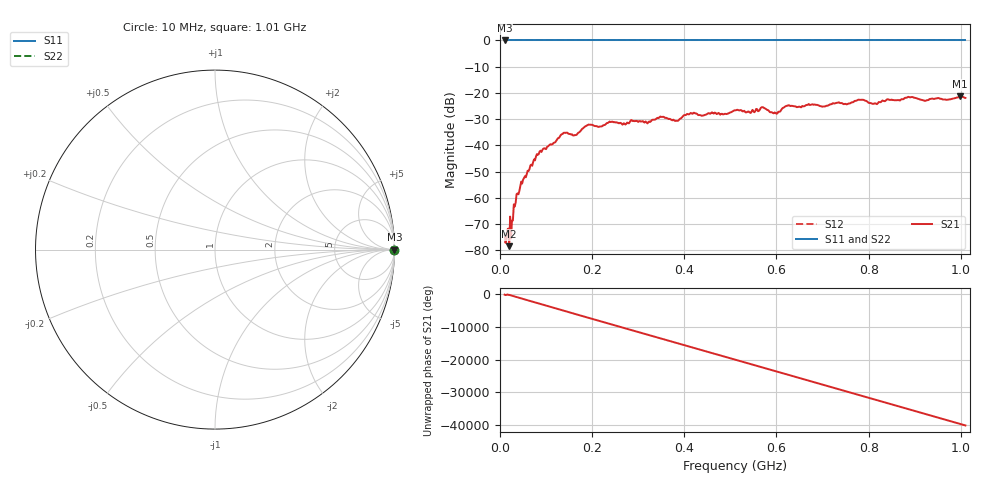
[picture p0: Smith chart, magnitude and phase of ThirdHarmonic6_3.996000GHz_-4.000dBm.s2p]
! 8/17/2025 2:15:50 PM
! C:\ANRITSUVNA\TEMP\TEMP.S2P
! CHANNEL.1
! TR.MEASUREMENT
! RAW.DATA
! RF.CORRECTION.OFF
! AVERAGING.OFF
! IF.BANDWIDTH: 5KHZ
! SWEEPTYPE:  FREQ.SWEEP(Linear)
! Reference Plane Port Info
! PORT:  PORT1  PORT2
! DISTANCE:  0  m  0  m
! TIME:  0  s  0  s
! PHASE.OFFSET:  0  deg.  0  deg.
! LOSS:  0  dB  0  dB
! REF.LOSS:  0  dB  0  dB
! REF.FREQ:  0  Hz  0  Hz
! Power Info
! POWER:  -20  dBm  -20  dBm
! EFF.POWER:  -20  dBm  -20  dBm
! SOURCE.ATTEN:  0  dB  0  dB
! TEST.ATTEN:  0  dB  0  dB
# GHZ S RI R 50.0
! FREQ.GHZ  S11RE  S11IM  S21RE  S21IM  S12RE  S12IM  S22RE  S22IM
!; PortSelection: Port_12
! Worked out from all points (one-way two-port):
!   501 points, 10 MHz to 1.01 GHz, reference 50 ohm
!   highest |S21| = -21.30 dB at 998 MHz (marker M1); lowest = -78.5 dB at 20 MHz (marker M2)
!   lowest |S11| = 0.0 dB at 10 MHz (marker M3)
!   |S11| at or under -10 dB: nowhere
!   |S22| runs from 0.0 to 0.0 dB; largest |S21 - S12| = 1.1
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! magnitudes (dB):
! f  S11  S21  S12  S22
! 10 MHz  0.0  -73.6  0.0  0.0
! 16 MHz  0.0  -72.2  0.0  0.0
! 20 MHz  0.0  -78.5  0.0  0.0
! 24 MHz  0.0  -75.5  0.0  0.0
! 34 MHz  0.0  -61.9  0.0  0.0
! 40 MHz  0.0  -58.7  0.0  0.0
! 82 MHz  0.0  -43.6  0.0  0.0
! 136 MHz  0.0  -35.7  0.0  0.0
! 162 MHz  0.0  -36.1  0.0  0.0
! 178 MHz  0.0  -33.8  0.0  0.0
! 194 MHz  0.0  -32.1  0.0  0.0
! 344 MHz  0.0  -29.6  0.0  0.0
! 384 MHz  0.0  -30.6  0.0  0.0
! 418 MHz  0.0  -28.0  0.0  0.0
! 510 MHz  0.0  -26.7  0.0  0.0
! 570 MHz  0.0  -25.4  0.0  0.0
! 598 MHz  0.0  -27.6  0.0  0.0
! 624 MHz  0.0  -24.9  0.0  0.0
! 678 MHz  0.0  -24.4  0.0  0.0
! 844 MHz  0.0  -22.6  0.0  0.0
! 998 MHz  0.0  -21.3  0.0  0.0
! 1.01 GHz  0.0  -21.9  0.0  0.0
